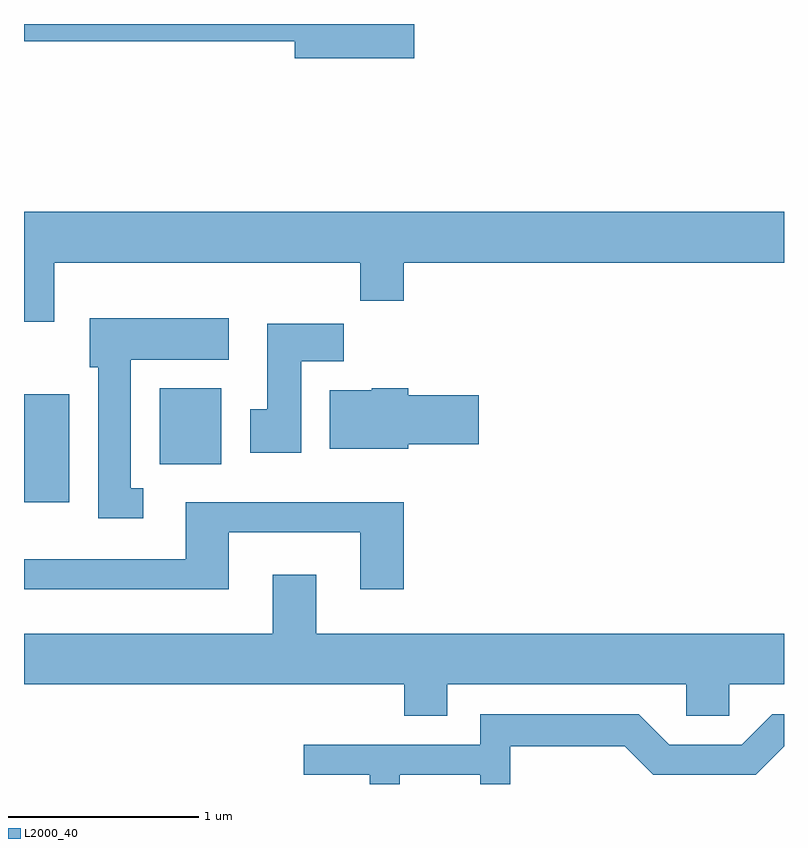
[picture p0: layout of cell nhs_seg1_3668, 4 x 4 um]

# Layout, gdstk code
import gdstk
lib = gdstk.Library(unit=1e-6, precision=1e-09)
def R(c, l, rs):  # rectangles x0, y0, x1, y1
    for r in rs: c.add(gdstk.rectangle(r[:2], r[2:], *l))
def P(c, l, *ps):  # polygons
    for p in ps: c.add(gdstk.Polygon(p, *l))
L2000_40 = (2000, 40)

nhs_seg1_3668 = lib.new_cell('nhs_seg1_3668')
R(nhs_seg1_3668, L2000_40, [(295.611,907.196,295.849,907.764), (296.326,907.396,296.649,907.794)])
P(nhs_seg1_3668, L2000_40, [(297.664,909.712),(295.611,909.712),(295.611,909.621),(297.036,909.621),(297.036,909.531),(297.664,909.531)],
  [(295.769,908.456),(297.381,908.456),(297.381,908.256),(297.609,908.256),(297.609,908.456),(299.611,908.456),(299.611,908.724),(295.611,908.724),(295.611,908.146),(295.769,908.146)],
  [(296.238,907.269),(296.174,907.269),(296.174,907.946),(296.689,907.946),(296.689,908.164),(295.956,908.164),(295.956,907.906),(296.001,907.906),(296.001,907.111),(296.238,907.111)],
  [(297.069,907.936),(297.294,907.936),(297.294,908.134),(296.891,908.134),(296.891,907.684),(296.801,907.684),(296.801,907.456),(297.069,907.456)],
  [(297.634,907.501),(298.004,907.501),(298.004,907.759),(297.634,907.759),(297.634,907.794),(297.44,907.794),(297.44,907.784),(297.221,907.784),(297.221,907.476),(297.634,907.476)],
  [(296.689,907.036),(297.381,907.036),(297.381,906.736),(297.609,906.736),(297.609,907.194),(296.461,907.194),(296.461,906.894),(295.611,906.894),(295.611,906.736),(296.689,906.736)],
  [(297.839,906.236),(299.096,906.236),(299.096,906.071),(299.324,906.071),(299.324,906.236),(299.611,906.236),(299.611,906.504),(297.149,906.504),(297.149,906.814),(296.921,906.814),(296.921,906.504),(295.611,906.504),(295.611,906.236),(297.611,906.236),(297.611,906.071),(297.839,906.071)],
  [(297.589,905.761),(298.011,905.761),(298.011,905.712),(298.169,905.712),(298.169,905.911),(298.774,905.911),(298.924,905.761),(299.462,905.761),(299.611,905.91),(299.611,906.079),(299.549,906.079),(299.389,905.919),(299.007,905.919),(298.847,906.079),(298.011,906.079),(298.011,905.919),(297.083,905.919),(297.083,905.761),(297.431,905.761),(297.431,905.712),(297.589,905.712)])

lib.write_gds('nhs_seg1_3668.gds')
